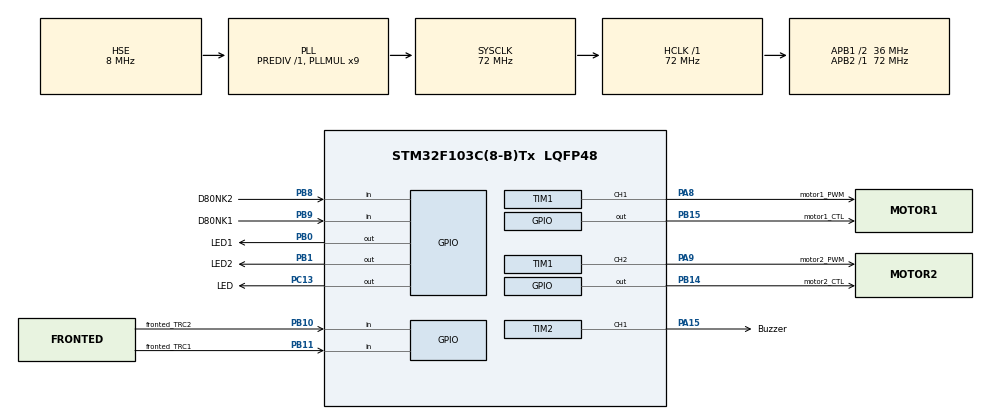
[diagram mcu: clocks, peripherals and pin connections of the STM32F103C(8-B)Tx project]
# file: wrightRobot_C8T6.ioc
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Mcu.Family=STM32F1
Mcu.Name=STM32F103C(8-B)Tx
Mcu.Package=LQFP48
NVIC.PriorityGroup=NVIC_PRIORITYGROUP_4
NVIC.TIM2_IRQn=true\:0\:0\:false\:false\:true\:true\:true\:true
NVIC.TIM3_IRQn=true\:0\:0\:true\:false\:true\:true\:true\:true
NVIC.TIM4_IRQn=true\:0\:0\:true\:false\:true\:true\:true\:true
PA0-WKUP.Mode=SYS_WakeUp0
PA0-WKUP.Signal=SYS_WKUP
PA13.Mode=Trace_Asynchronous_SW
PA13.Signal=SYS_JTMS-SWDIO
PA14.Mode=Trace_Asynchronous_SW
PA14.Signal=SYS_JTCK-SWCLK
PA15.GPIO_Label=Buzzer
PA15.Signal=S_TIM2_CH1_ETR
PA8.GPIO_Label=motor1_PWM
PA8.Signal=S_TIM1_CH1
PA9.GPIO_Label=motor2_PWM
PA9.Signal=S_TIM1_CH2
PB0.GPIO_Label=LED1
PB0.Signal=GPIO_Output
PB1.GPIO_Label=LED2
PB1.Signal=GPIO_Output
PB10.GPIO_Label=fronted_TRC2
PB10.Signal=GPIO_Input
PB11.GPIO_Label=fronted_TRC1
PB11.Signal=GPIO_Input
PB14.GPIO_Label=motor2_CTL
PB14.Signal=GPIO_Output
PB15.GPIO_Label=motor1_CTL
PB15.Signal=GPIO_Output
PB3.Mode=Trace_Asynchronous_SW
PB3.Signal=SYS_JTDO-TRACESWO
PB8.GPIO_Label=D80NK2
PB8.GPIO_PuPd=GPIO_PULLUP
PB8.Signal=GPIO_Input
PB9.GPIO_Label=D80NK1
PB9.GPIO_PuPd=GPIO_PULLUP
PB9.Signal=GPIO_Input
PC13-TAMPER-RTC.GPIO_Label=LED
PC13-TAMPER-RTC.PinState=GPIO_PIN_RESET
PC13-TAMPER-RTC.Signal=GPIO_Output
PD0-OSC_IN.Mode=HSE-External-Oscillator
PD0-OSC_IN.Signal=RCC_OSC_IN
PD1-OSC_OUT.Mode=HSE-External-Oscillator
PD1-OSC_OUT.Signal=RCC_OSC_OUT
ProjectManager.HeapSize=0x200
ProjectManager.StackSize=0x400
ProjectManager.TargetToolchain=Makefile
RCC.AHBFreq_Value=72000000
RCC.APB1CLKDivider=RCC_HCLK_DIV2
RCC.APB1Freq_Value=36000000
RCC.APB1TimFreq_Value=72000000
RCC.APB2Freq_Value=72000000
RCC.APB2TimFreq_Value=72000000
RCC.HCLKFreq_Value=72000000
RCC.PLLMUL=RCC_PLL_MUL9
RCC.PLLSourceVirtual=RCC_PLLSOURCE_HSE
RCC.SYSCLKFreq_VALUE=72000000
RCC.SYSCLKSource=RCC_SYSCLKSOURCE_PLLCLK
RCC.USBFreq_Value=72000000
SH.S_TIM1_CH1.0=TIM1_CH1,PWM Generation1 CH1
SH.S_TIM1_CH2.0=TIM1_CH2,PWM Generation2 CH2
SH.S_TIM2_CH1_ETR.0=TIM2_CH1,PWM Generation1 CH1
TIM1.AutoReloadPreload=TIM_AUTORELOAD_PRELOAD_ENABLE
TIM1.Channel-PWM\ Generation1\ CH1=TIM_CHANNEL_1
TIM1.Channel-PWM\ Generation2\ CH2=TIM_CHANNEL_2
TIM1.OCFastMode_PWM-PWM\ Generation1\ CH1=TIM_OCFAST_ENABLE
TIM1.OCPolarity_1=TIM_OCPOLARITY_LOW
TIM1.Period=4999
TIM1.Prescaler=71
TIM2.AutoReloadPreload=TIM_AUTORELOAD_PRELOAD_ENABLE
TIM2.Channel-PWM\ Generation1\ CH1=TIM_CHANNEL_1
TIM2.Period=499
TIM2.Prescaler=7199
TIM3.AutoReloadPreload=TIM_AUTORELOAD_PRELOAD_ENABLE
TIM3.Period=499
TIM3.Prescaler=7199
TIM4.AutoReloadPreload=TIM_AUTORELOAD_PRELOAD_ENABLE
TIM4.Period=49
TIM4.Prescaler=719
VP_TIM1_VS_ClockSourceINT.Mode=Internal
VP_TIM2_VS_ClockSourceINT.Mode=Internal
VP_TIM3_VS_ClockSourceINT.Mode=Internal
VP_TIM4_VS_ClockSourceINT.Mode=Internal
board=custom

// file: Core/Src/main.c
/* USER CODE BEGIN Header */
/**
 ******************************************************************************
 * @file           : main.c
 * @brief          : Main program body
 ******************************************************************************
 * @attention
 *
 * Copyright (c) 2024 STMicroelectronics.
 * All rights reserved.
 *
 * This software is licensed under terms that can be found in the LICENSE file
 * in the root directory of this software component.
 * If no LICENSE file comes with this software, it is provided AS-IS.
 *
 ******************************************************************************
 */
/* USER CODE END Header */
#include "main.h"
#include "tim.h"
#include "gpio.h"

/* USER CODE BEGIN PV */
struct PID pid1;
struct PID pid2;

uint16_t edge_trigger[2] = {0, 0};
bool target_exist[2] = {0 , 0};

bool dir[4] = {0, 0, 0, 0};
/* USER CODE END PV */

void SystemClock_Config(void);
/* USER CODE BEGIN PFP */
void led_pattern1(void);

__weak void HAL_TIM_PeriodElapsedCallback(TIM_HandleTypeDef *htim)
{
/* ------------- TIM2 Edge Tracker Sensor Tasks -------------*/
  if (htim->Instance == TIM2)
  {

    if (HAL_GPIO_ReadPin(fronted_TRC1_GPIO_Port, fronted_TRC1_Pin)
    == GPIO_PIN_RESET &&
    HAL_GPIO_ReadPin(fronted_TRC2_GPIO_Port, fronted_TRC2_Pin)
    == GPIO_PIN_RESET){
      motor_edgeturn(edge_trigger, (uint16_t)pid1.feedback);
    }
    else if (HAL_GPIO_ReadPin(fronted_TRC1_GPIO_Port, fronted_TRC1_Pin)
    == GPIO_PIN_RESET)
    {
      edge_trigger[0]++;
      // HAL_GPIO_WritePin(LED_GPIO_Port, LED_Pin, GPIO_PIN_SET);//For debug
    }
    else
    {
      edge_trigger[1]++;
      // HAL_GPIO_WritePin(LED_GPIO_Port, LED_Pin, GPIO_PIN_RESET);//For debug
    }
  }

  /* ------------- TIM3 Photoeletric Sensor Task -------------*/
  if (htim->Instance == TIM3)
  {
    if (HAL_GPIO_ReadPin(D80NK1_GPIO_Port, D80NK1_Pin) == GPIO_PIN_RESET)
    {
      target_exist[0] = true;
      //HAL_GPIO_WritePin(LED_GPIO_Port, LED_Pin, GPIO_PIN_SET);//For debug
    }
    else
    {
      target_exist[0] = false;
      // HAL_GPIO_WritePin(LED_GPIO_Port, LED_Pin, GPIO_PIN_RESET);//For debug
    }
  }
  /* ------------- TIM4 PID Task -------------*/
  if (htim->Instance == TIM4)
  {
    pid_update(&pid1);
    pid_update(&pid2);
  }
  UNUSED(htim);

}

/* USER CODE END PFP */

int main(void)
{

  /* MCU Configuration--------------------------------------------------------*/

  /* Reset of all peripherals, Initializes the Flash interface and the Systick. */
  HAL_Init();

  /* Configure the system clock */
  SystemClock_Config();

  /* Initialize all configured peripherals */
  MX_GPIO_Init();
  MX_TIM1_Init();
  MX_TIM2_Init();
  MX_TIM3_Init();
  MX_TIM4_Init();
  /* USER CODE BEGIN 2 */

  pid_init(&pid1, 0.05, 0.10, 0.01, 50);
  pid_init(&pid2, 0.05, 0.10, 0.01, 50);

  HAL_TIM_PWM_Start(&htim1, TIM_CHANNEL_1);
  HAL_TIM_PWM_Start(&htim1, TIM_CHANNEL_3);
  HAL_TIM_Base_Start_IT(&htim2);
  HAL_TIM_Base_Start_IT(&htim3);
  HAL_TIM_Base_Start_IT(&htim4);
  /* USER CODE END 2 */

  /* Infinite loop */
  /* USER CODE BEGIN WHILE */
  while (1)
  {
    motor_forward(dir);
    /* -------- Write pin to control direction ---------*/
    HAL_GPIO_WritePin(motor1_CTL1_GPIO_Port, motor1_CTL1_Pin, 1);
    HAL_GPIO_WritePin(motor1_CTL2_GPIO_Port, motor1_CTL2_Pin, dir[1]);
    HAL_GPIO_WritePin(motor2_CTL1_GPIO_Port, motor2_CTL1_Pin, dir[2]);
    HAL_GPIO_WritePin(motor2_CTL2_GPIO_Port, motor2_CTL2_Pin, dir[3]);
    /* -------- Set compare PWM to control speed ---------*/
    __HAL_TIM_SET_COMPARE(&htim1, TIM_CHANNEL_1, 1000);
    __HAL_TIM_SET_COMPARE(&htim1, TIM_CHANNEL_3, 50);
    /* -------- Delay prevention --------*/
    HAL_Delay(2);
    /* USER CODE END WHILE */

  }
}

void SystemClock_Config(void)
{
  RCC_OscInitTypeDef RCC_OscInitStruct = {0};
  RCC_ClkInitTypeDef RCC_ClkInitStruct = {0};

  /** Initializes the RCC Oscillators according to the specified parameters
  * in the RCC_OscInitTypeDef structure.
  */
  RCC_OscInitStruct.OscillatorType = RCC_OSCILLATORTYPE_HSE;
  RCC_OscInitStruct.HSEState = RCC_HSE_ON;
  RCC_OscInitStruct.HSEPredivValue = RCC_HSE_PREDIV_DIV1;
  RCC_OscInitStruct.HSIState = RCC_HSI_ON;
  RCC_OscInitStruct.PLL.PLLState = RCC_PLL_ON;
  RCC_OscInitStruct.PLL.PLLSource = RCC_PLLSOURCE_HSE;
  RCC_OscInitStruct.PLL.PLLMUL = RCC_PLL_MUL9;
  if (HAL_RCC_OscConfig(&RCC_OscInitStruct) != HAL_OK)
  {
    Error_Handler();
  }

  /** Initializes the CPU, AHB and APB buses clocks
  */
  RCC_ClkInitStruct.ClockType = RCC_CLOCKTYPE_HCLK|RCC_CLOCKTYPE_SYSCLK
                              |RCC_CLOCKTYPE_PCLK1|RCC_CLOCKTYPE_PCLK2;
  RCC_ClkInitStruct.SYSCLKSource = RCC_SYSCLKSOURCE_PLLCLK;
  RCC_ClkInitStruct.AHBCLKDivider = RCC_SYSCLK_DIV1;
  RCC_ClkInitStruct.APB1CLKDivider = RCC_HCLK_DIV2;
  RCC_ClkInitStruct.APB2CLKDivider = RCC_HCLK_DIV1;

  if (HAL_RCC_ClockConfig(&RCC_ClkInitStruct, FLASH_LATENCY_2) != HAL_OK)
  {
    Error_Handler();
  }
}

/* USER CODE BEGIN 4 */
void led_pattern1(void)
{
  HAL_GPIO_WritePin(LED_GPIO_Port, LED_Pin, GPIO_PIN_RESET);
  for (int i = 0; i < 5; i++)
  {
    HAL_GPIO_TogglePin(LED_GPIO_Port, LED_Pin);
    HAL_Delay(500);
  }
  HAL_GPIO_TogglePin(LED_GPIO_Port, LED_Pin);
  HAL_Delay(2000);
}
/* USER CODE END 4 */

void Error_Handler(void)
{
  /* USER CODE BEGIN Error_Handler_Debug */
  /* User can add his own implementation to report the HAL error return state */
  __disable_irq();
  while (1)
  {
    //codes for error
  }
  /* USER CODE END Error_Handler_Debug */
}
